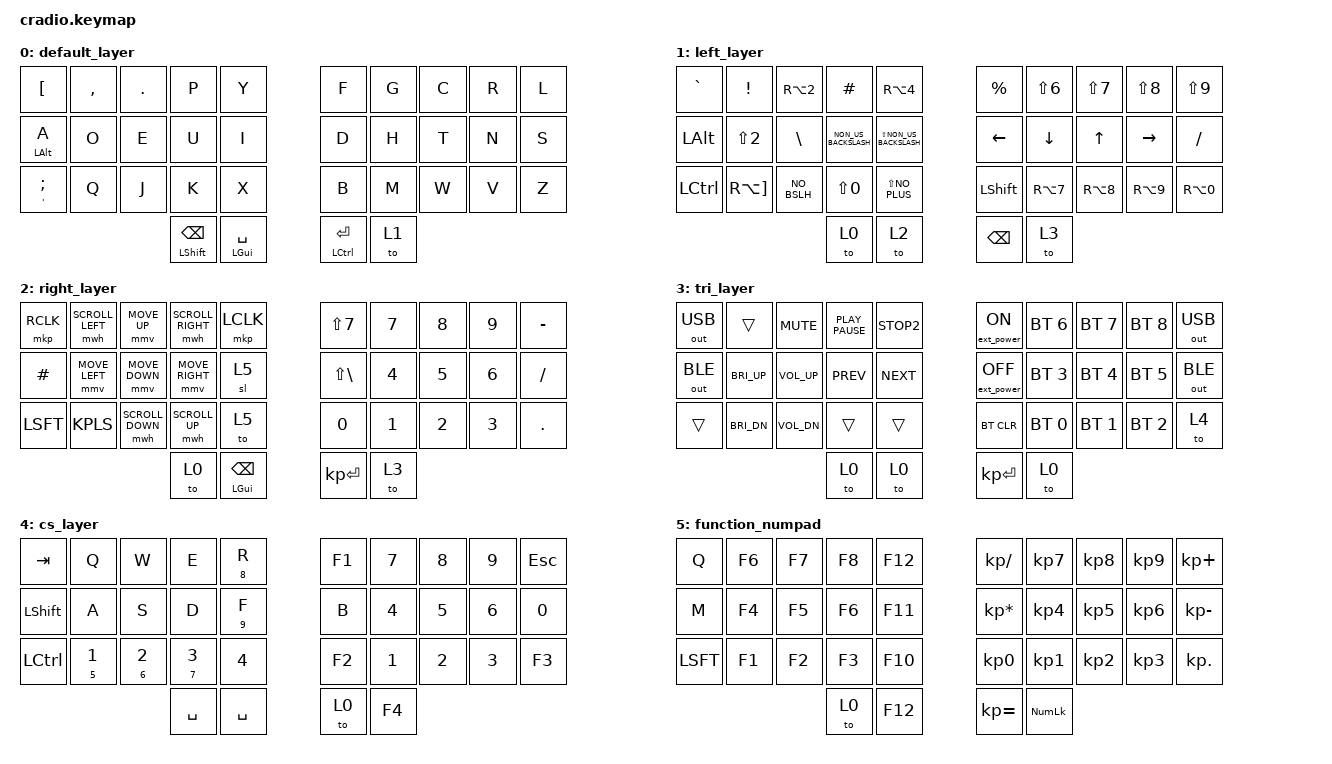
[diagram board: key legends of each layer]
/*
* Copyright (c) 2020 The ZMK Contributors
*
* SPDX-License-Identifier: MIT
*/

#include <behaviors.dtsi>
#include <dt-bindings/zmk/keys.h>
#include <dt-bindings/zmk/bt.h>
#include <dt-bindings/zmk/ext_power.h>
#include <dt-bindings/zmk/outputs.h>
#include <dt-bindings/zmk/mouse.h>

// norwegian definitions below
#define OE	 SEMI	   // Æ
#define AE	 SQT	   // Ø
#define AA	 LBKT	   // Å
#define NO_PIPE	 GRAVE	   // |
#define NO_AT 	 RA(N2)    // @
#define NO_DLLR	 RA(N4)    // $
#define NO_AMPS	 LS(N6)	   // &
#define NO_STAR	 LS(BSLH)  // *
#define NO_FSLH  LS(N7)    // /
#define NO_LPAR	 LS(N8)    // (
#define NO_RPAR	 LS(N9)    // )
#define NO_LBKT  RA(N8)    // [
#define NO_RBKT  RA(N9)    // ]
#define NO_LBRC	 RA(N7)	   // {
#define NO_RBRC	 RA(N0)	   // }
#define NO_PLUS	 MINUS     // +
#define NO_DASH	 FSLH      // -
#define NO_APOS	 BSLH      // '
#define NO_EQL	 LS(N0)    // =
#define NO_QMARK LS(NO_PLUS) // ? 
#define NO_QUOT	 LS(N2)    // "
#define NO_TILDE RA(RBKT)  // ~ 
#define NO_LESS  NON_US_BACKSLASH // <
#define NO_MORE  LS(NON_US_BACKSLASH) // >
#define NO_BSLH  0x2E      // \
#define NO_HAT	 LS(RBKT)  // ^ 

&mt {
      flavor = "tap-preferred";
      tapping_term_ms = <350>;
};

/ { 
    combos {
        compatible = "zmk,combos";
        combo_esc { 
            timeout-ms = <50>;
            key-positions = <1 2>;
            bindings = <&kp ESC>;
	    layers = <0>;
        };
        combo_tab { 
            timeout-ms = <50>;
            key-positions = <1 3>;
            bindings = <&kp TAB>;
	    layers = <0>;
       };
        combo_del { 
            timeout-ms = <50>;
            key-positions = <2 3>;
            bindings = <&kp DEL>;
	    layers = <0>;
       };
        combo_spc { 
            timeout-ms = <50>;
            key-positions = <1 2 3>;
            bindings = <&kp SPACE>;
	    layers = <0>;
       };

   };
    behaviors {
	dth: double-tap-to-hold{
            compatible = "zmk,behavior-hold-tap";
            label = "DOUBLETAP";
            #binding-cells = <2>;
            tapping-term-ms = <200>;
            quick_tap_ms = <200>;
            flavor = "tap-preferred";
            bindings = <&kp>, <&kp>;
        };
            
    };

        keymap {
		compatible = "zmk,keymap";
      		default_layer {
		bindings = <
		&kp AA 	   &kp COMMA &kp DOT &kp P &kp Y		  		&kp F &kp G &kp C &kp R &kp L 
		&mt LALT A &kp O     &kp E   &kp U &kp I 	       	     		&kp D &kp H &kp T &kp N &kp S
		&dth AE OE &kp Q     &kp J   &kp K &kp X	             		&kp B &kp M &kp W &kp V &kp Z 
          			&dth LSHIFT BACKSPACE &dth LGUI SPACE 	     		&dth LCTRL RET &to 1
		>;
		};

       		left_layer {
		bindings = <
		&kp NO_PIPE &kp EXCL     &kp NO_AT   &kp HASH    &kp NO_DLLR         		&kp PRCNT   	&kp NO_AMPS &kp NO_FSLH &kp NO_LPAR &kp NO_RPAR 
		&kp LALT    &kp NO_QUOT  &kp NO_APOS &kp NO_LESS &kp NO_MORE         		&kp LEFT    	&kp DOWN    &kp UP      &kp RIGHT   &kp NO_DASH
		&kp LCTRL   &kp NO_TILDE &kp NO_BSLH &kp NO_EQL  &kp NO_QMARK 	     		&kp LSHIFT      &kp NO_LBRC &kp NO_LBKT &kp NO_RBKT &kp NO_RBRC
					    		  	&to 0  &to 2            	&kp BACKSPACE 	&to 3 
		>;
		};

		right_layer {
		bindings = <
		&mkp RCLK &mwh SCROLL_LEFT &mmv MOVE_UP       &mwh SCROLL_RIGHT &mkp LCLK       &kp NO_FSLH     &kp N7 &kp N8 &kp N9 &kp NO_PLUS
		&kp HASH  &mmv MOVE_LEFT   &mmv MOVE_DOWN     &mmv MOVE_RIGHT   &sl 5		&kp NO_STAR	&kp N4 &kp N5 &kp N6 &kp NO_DASH
		&kp LSFT  &kp KPLS 	   &mwh SCROLL_DOWN   &mwh SCROLL_UP    &to 5   	&kp N0       	&kp N1 &kp N2 &kp N3 &kp DOT
					  			&to 0 &dth LGUI BACKSPACE      	&kp KP_ENTER    &to 3 
		>;
		};
		
		tri_layer {
		bindings = <
		&out OUT_USB &trans       &kp K_MUTE   &kp K_PLAY_PAUSE &kp K_STOP2     	&ext_power EP_ON  &bt BT_SEL 6  &bt BT_SEL 7 &bt BT_SEL 8 &out OUT_USB       
		&out OUT_BLE &kp C_BRI_UP &kp K_VOL_UP &kp K_PREV       &kp K_NEXT      	&ext_power EP_OFF &bt BT_SEL 3  &bt BT_SEL 4 &bt BT_SEL 5 &out OUT_BLE
		&trans       &kp C_BRI_DN &kp K_VOL_DN &trans   	&trans          	&bt BT_CLR     	  &bt BT_SEL 0  &bt BT_SEL 1 &bt BT_SEL 2 &to 4
									&to 0 &to 0             &kp KP_ENTER &to 0			      	     		
		>;
		};	

        	cs_layer {
		bindings = <
		&kp TAB    &kp Q     &kp W     &kp E     &dth NUM_8 R                       	&kp F1 &kp NUM_7     &kp NUM_8 &kp NUM_9 &kp ESC
		&kp LSHIFT &kp A     &kp S     &kp D     &dth NUM_9 F   	             	&kp B  &kp NUM_4     &kp NUM_5 &kp NUM_6 &kp NUM_0
		&kp LCTRL  &dth NUM_5 NUM_1 &dth NUM_6 NUM_2 &dth NUM_7 NUM_3 &kp NUM_4		&kp F2 &kp NUM_1     &kp NUM_2 &kp NUM_3 &kp F3
									&kp SPACE &kp SPACE	&to 0 &kp F4
		>;
		};	

		function_numpad {
		bindings = <
		&kp Q	   &kp F6 &kp F7 &kp F8 &kp F12						&kp KP_DIVIDE   &kp KP_N7 &kp KP_N8 &kp KP_N9 &kp KP_PLUS
		&kp M	   &kp F4 &kp F5 &kp F6 &kp F11						&kp KP_MULTIPLY &kp KP_N4 &kp KP_N5 &kp KP_N6 &kp KP_MINUS
		&kp LSFT   &kp F1 &kp F2 &kp F3 &kp F10						&kp KP_N0      	&kp KP_N1 &kp KP_N2 &kp KP_N3 &kp KP_DOT
				&to 0 &kp F12							&kp KP_EQUAL    &kp KP_NUM 
		>;
		};
	};
};
